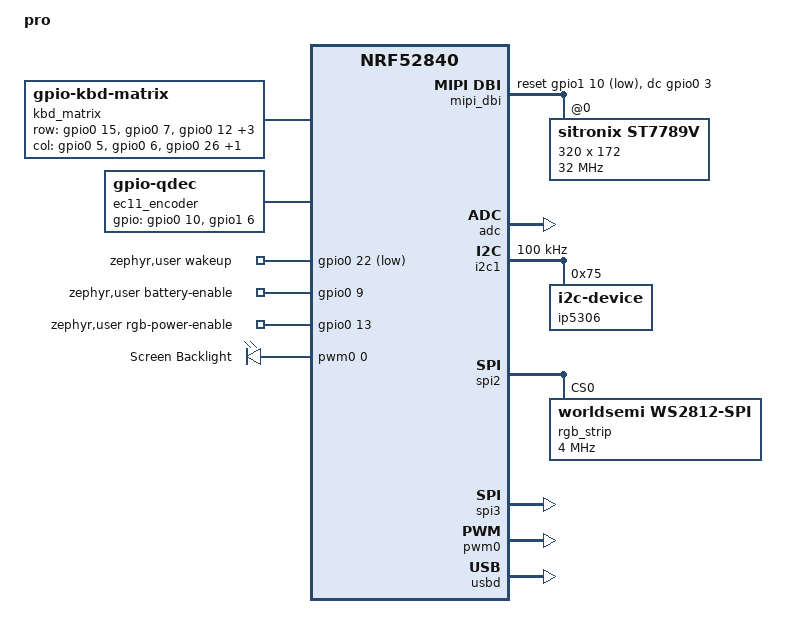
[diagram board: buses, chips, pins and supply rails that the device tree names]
/dts-v1/;
#include <nordic/nrf52840_qiaa.dtsi>
#include <zephyr/dt-bindings/gpio/gpio.h>
#include <zephyr/dt-bindings/i2c/i2c.h>
#include <zephyr/dt-bindings/input/input-event-codes.h>
#include <zephyr/dt-bindings/input/keymap.h>
#include <zephyr/dt-bindings/led/led.h>
#include <zephyr/dt-bindings/mipi_dbi/mipi_dbi.h>
#include <zephyr/dt-bindings/pwm/pwm.h>
#include "mini-keyboard-pinctrl.dtsi"

/ {
	model = "pro";
	compatible = "mingdev,mini-keyboard";

	chosen {
		zephyr,sram = &sram0;
		zephyr,flash = &flash0;
		zephyr,code-partition = &slot0_partition;
		zephyr,led-strip = &rgb_strip;
		zephyr,display = &st7789v;
	};

	aliases {
		led-strip = &rgb_strip;
		pwm-led0 = &screen_backlight;
	};

	kbd_matrix: kbd-matrix {
		compatible = "gpio-kbd-matrix";
		status = "okay";

		row-gpios = <&gpio0 15 (GPIO_PULL_DOWN | GPIO_ACTIVE_HIGH)>,
			    <&gpio0 7  (GPIO_PULL_DOWN | GPIO_ACTIVE_HIGH)>,
			    <&gpio0 12 (GPIO_PULL_DOWN | GPIO_ACTIVE_HIGH)>,
			    <&gpio0 4  (GPIO_PULL_DOWN | GPIO_ACTIVE_HIGH)>,
			    <&gpio1 9  (GPIO_PULL_DOWN | GPIO_ACTIVE_HIGH)>,
			    <&gpio0 8  (GPIO_PULL_DOWN | GPIO_ACTIVE_HIGH)>;

		col-gpios = <&gpio0 5 GPIO_ACTIVE_HIGH>,
			    <&gpio0 6 GPIO_ACTIVE_HIGH>,
			    <&gpio0 26 GPIO_ACTIVE_HIGH>,
			    <&gpio0 30 GPIO_ACTIVE_HIGH>;

		actual-key-mask = <0x3e 0x3e 0x1e 0x2b>;
		no-ghostkey-check;

		keymap {
			compatible = "input-keymap";
			keymap = <
				MATRIX_KEY(0, 3, INPUT_KEY_MUTE)

				MATRIX_KEY(1, 0, INPUT_KEY_NUMLOCK)
				MATRIX_KEY(1, 1, INPUT_KEY_KPSLASH)
				MATRIX_KEY(1, 2, INPUT_KEY_KPASTERISK)
				MATRIX_KEY(1, 3, INPUT_KEY_KPMINUS)

				MATRIX_KEY(2, 0, INPUT_KEY_KP7)
				MATRIX_KEY(2, 1, INPUT_KEY_KP8)
				MATRIX_KEY(2, 2, INPUT_KEY_KP9)

				MATRIX_KEY(3, 0, INPUT_KEY_KP4)
				MATRIX_KEY(3, 1, INPUT_KEY_KP5)
				MATRIX_KEY(3, 2, INPUT_KEY_KP6)
				MATRIX_KEY(3, 3, INPUT_KEY_KPPLUS)

				MATRIX_KEY(4, 0, INPUT_KEY_KP1)
				MATRIX_KEY(4, 1, INPUT_KEY_KP2)
				MATRIX_KEY(4, 2, INPUT_KEY_KP3)

				MATRIX_KEY(5, 0, INPUT_KEY_KP0)
				MATRIX_KEY(5, 1, INPUT_KEY_KPDOT)
				MATRIX_KEY(5, 3, INPUT_KEY_KPENTER)
			>;
			row-size = <6>;
			col-size = <4>;
		};
	};

	hid_dev_0: hid_dev_0 {
		compatible = "zephyr,hid-device";
		label = "HID0";
		protocol-code = "keyboard";
		in-report-size = <9>;
		in-polling-period-us = <1000>;
	};

	ec11_encoder: ec11-encoder {
		compatible = "gpio-qdec";
		status = "okay";
		gpios = <&gpio0 10 (GPIO_PULL_UP | GPIO_ACTIVE_HIGH)>,
			<&gpio1 6 (GPIO_PULL_UP | GPIO_ACTIVE_HIGH)>;
		steps-per-period = <2>;
		zephyr,axis = <INPUT_REL_WHEEL>;
		sample-time-us = <2000>;
		idle-poll-time-us = <2000>;
		idle-timeout-ms = <200>;
	};

	zephyr,user {
		wakeup-gpios = <&gpio0 22 GPIO_ACTIVE_LOW>;
		battery-enable-gpios = <&gpio0 9 GPIO_ACTIVE_HIGH>;
		rgb-power-enable-gpios = <&gpio0 13 GPIO_ACTIVE_HIGH>;
	};

	pwmleds {
		compatible = "pwm-leds";

		screen_backlight: screen-backlight {
			pwms = <&pwm0 0 PWM_MSEC(10) PWM_POLARITY_INVERTED>;
			label = "Screen Backlight";
		};
	};

	mipi_dbi {
		compatible = "zephyr,mipi-dbi-spi";
		spi-dev = <&spi3>;
		dc-gpios = <&gpio0 3 GPIO_ACTIVE_HIGH>;
		reset-gpios = <&gpio1 10 GPIO_ACTIVE_LOW>;
		write-only;
		#address-cells = <1>;
		#size-cells = <0>;

		st7789v: st7789v@0 {
			compatible = "sitronix,st7789v";
			reg = <0>;
			mipi-max-frequency = <32000000>;
			width = <320>;
			height = <172>;
			x-offset = <0>;
			y-offset = <34>;
			ready-time-ms = <120>;
			vcom = <0x19>;
			gctrl = <0x35>;
			vrhs = <0x12>;
			vdvs = <0x20>;
			mdac = <0x60>;
			gamma = <0x01>;
			colmod = <0x05>;
			lcm = <0x2c>;
			porch-param = [0c 0c 00 33 33];
			cmd2en-param = [5a 69 02 01];
			pwctrl1-param = [a4 a1];
			pvgam-param = [D0 04 0D 11 13 2B 3F 54 4C 18 0D 0B 1F 23];
			nvgam-param = [D0 04 0C 11 13 2C 3F 44 51 2F 1F 1F 20 23];
			ram-param = [00 F0];
			rgb-param = [CD 08 14];
			mipi-mode = "MIPI_DBI_MODE_SPI_4WIRE";
		};
	};
};

&adc {
	status = "okay";
};

&i2c1 {
	compatible = "nordic,nrf-twim";
	status = "okay";
	pinctrl-0 = <&i2c1_default>;
	pinctrl-1 = <&i2c1_sleep>;
	pinctrl-names = "default", "sleep";
	clock-frequency = <I2C_BITRATE_STANDARD>;

	ip5306: ip5306@75 {
		compatible = "i2c-device";
		reg = <0x75>;
	};
};

&spi2 {
	compatible = "nordic,nrf-spim";
	status = "okay";
	pinctrl-0 = <&spi2_default>;
	pinctrl-1 = <&spi2_sleep>;
	pinctrl-names = "default", "sleep";

	rgb_strip: ws2812@0 {
		compatible = "worldsemi,ws2812-spi";
		reg = <0>;
		spi-max-frequency = <4000000>;
		chain-length = <17>;
		color-mapping = <LED_COLOR_ID_GREEN
				 LED_COLOR_ID_RED
				 LED_COLOR_ID_BLUE>;
		spi-one-frame = <0x70>;
		spi-zero-frame = <0x40>;
		bits-per-symbol = <8>;
	};
};

&spi3 {
	compatible = "nordic,nrf-spim";
	status = "okay";
	cs-gpios = <&gpio0 2 GPIO_ACTIVE_LOW>;
	pinctrl-0 = <&spi3_default>;
	pinctrl-1 = <&spi3_sleep>;
	pinctrl-names = "default", "sleep";
};

&pwm0 {
	status = "okay";
	pinctrl-0 = <&pwm0_default>;
	pinctrl-1 = <&pwm0_sleep>;
	pinctrl-names = "default", "sleep";
};

&uicr {
	nfct-pins-as-gpios;
	gpio-as-nreset;
};

&gpio0 {
	status = "okay";
};

&gpio1 {
	status = "okay";
};

&gpiote {
	status = "okay";
};

zephyr_udc0: &usbd {
	compatible = "nordic,nrf-usbd";
	status = "okay";

	cdc_acm_uart0: cdc_acm_uart0 {
		compatible = "zephyr,cdc-acm-uart";
		label = "PRO Config CDC ACM";
	};
};

&flash0 {
	partitions {
		compatible = "fixed-partitions";
		#address-cells = <1>;
		#size-cells = <1>;

		boot_partition: partition@0 {
			label = "mcuboot";
			reg = <0x00000000 DT_SIZE_K(48)>;
		};

		slot0_partition: partition@c000 {
			label = "image-0";
			reg = <0x0000c000 DT_SIZE_K(472)>;
		};

		slot1_partition: partition@82000 {
			label = "image-1";
			reg = <0x00082000 DT_SIZE_K(472)>;
		};

		storage_partition: partition@f8000 {
			label = "storage";
			reg = <0x000f8000 DT_SIZE_K(32)>;
		};
	};
};
